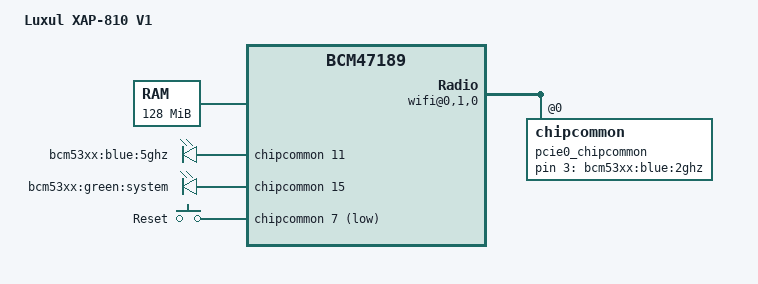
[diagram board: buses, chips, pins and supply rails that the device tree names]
// SPDX-License-Identifier: GPL-2.0-or-later OR MIT
/*
 * Copyright 2017 Luxul Inc.
 */

/dts-v1/;

#include "bcm53573.dtsi"

/ {
	compatible = "luxul,xap-810-v1", "brcm,bcm47189", "brcm,bcm53573";
	model = "Luxul XAP-810 V1";

	chosen {
		bootargs = "earlycon";
	};

	memory@0 {
		device_type = "memory";
		reg = <0x00000000 0x08000000>;
	};

	leds-0 {
		compatible = "gpio-leds";

		led-5ghz {
			label = "bcm53xx:blue:5ghz";
			gpios = <&chipcommon 11 GPIO_ACTIVE_HIGH>;
		};

		led-system {
			label = "bcm53xx:green:system";
			gpios = <&chipcommon 15 GPIO_ACTIVE_HIGH>;
			linux,default-trigger = "timer";
		};
	};

	leds-1 {
		compatible = "gpio-leds";

		led-2ghz {
			label = "bcm53xx:blue:2ghz";
			gpios = <&pcie0_chipcommon 3 GPIO_ACTIVE_HIGH>;
		};
	};

	gpio-keys {
		compatible = "gpio-keys";

		button-restart {
			label = "Reset";
			linux,code = <KEY_RESTART>;
			gpios = <&chipcommon 7 GPIO_ACTIVE_LOW>;
		};
	};
};

&pcie0 {
	ranges = <0x00000000 0 0 0 0 0x00100000>;
	#address-cells = <3>;
	#size-cells = <2>;

	bridge@0,0,0 {
		reg = <0x0000 0 0 0 0>;
		ranges = <0x00000000 0 0 0 0 0 0 0x00100000>;
		#address-cells = <3>;
		#size-cells = <2>;

		wifi@0,1,0 {
			reg = <0x0000 0 0 0 0>;
			ranges = <0x00000000 0 0 0 0x00100000>;
			#address-cells = <1>;
			#size-cells = <1>;

			pcie0_chipcommon: chipcommon@0 {
				reg = <0 0x1000>;

				gpio-controller;
				#gpio-cells = <2>;
			};
		};
	};
};
